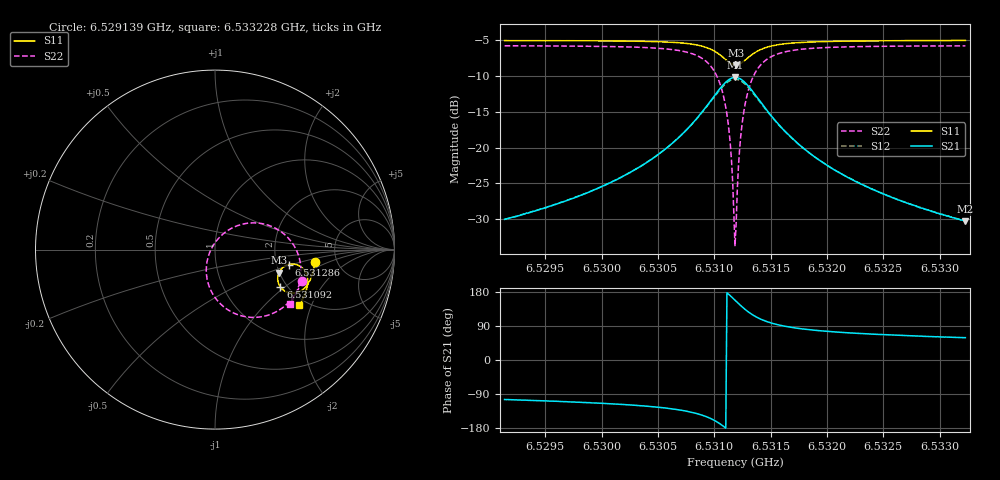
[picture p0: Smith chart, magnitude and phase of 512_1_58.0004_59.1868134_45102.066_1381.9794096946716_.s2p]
#  HZ  S  RI  R  50.00
! Rohde & Schwarz Vector Network Analyzer
! Rohde-Schwarz,ZNB20-2Port,1311601062101988,3.16
! Created: UTC 3/21/2024, 1:13:13 AM
! freq[Hz]  re:S11  im:S11  re:S21  im:S21  re:S12  im:S12  re:S22  im:S22
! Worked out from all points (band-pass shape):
!   401 points, 6.529139 GHz to 6.533228 GHz, reference 50 ohm
!   highest |S21| = -10.17 dB at 6.531184 GHz (marker M1); lowest = -30.3 dB at 6.533228 GHz (marker M2)
!   |S21| within 3 dB of the highest: 6.530981 GHz to 6.53139 GHz (408.5 kHz wide, 0.00625 % of centre)
!   lowest |S11| = -8.4 dB at 6.531194 GHz (marker M3), VSWR 2.22, Z = 99.3 - j29.9 ohm
!   |S11| at or under -10 dB: nowhere
!   |S22| runs from -33.8 to -5.7 dB; largest |S21 - S12| = 0.012
!   S11 on the Smith chart (normalised r, x): 6.529139 GHz: 3.40, -0.69; 6.531092 GHz: 1.84, -0.93; 6.531286 GHz: 2.32, -0.47; 6.533228 GHz: 1.82, -1.64
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6.5291392e9  0.5567 -0.0693  -0.00771 -0.0305  -0.00837 -0.0303  0.4864 -0.1733
6.5298242e9  0.5454 -0.1262  -0.0173 -0.0433  -0.0182 -0.043  0.455 -0.2369
6.5305091e9  0.516 -0.1941  -0.0516 -0.074  -0.0536 -0.0726  0.3726 -0.3269
6.5307443e9  0.4884 -0.2236  -0.0917 -0.0933  -0.0945 -0.0901  0.2913 -0.3668
6.5309181e9  0.4441 -0.2422  -0.1606 -0.0991  -0.1628 -0.0927  0.1644 -0.3729
6.5310203e9  0.3992 -0.2362  -0.2303 -0.072  -0.2294 -0.0626  0.0462 -0.3166
6.5310918e9  0.3643 -0.2081  -0.2816 -0.0127  -0.2757 -0.00288  -0.0315 -0.2085
6.5311327e9  0.3516 -0.1798  -0.2974 0.0409  -0.2883 0.0487  -0.0488 -0.1169
6.5311736e9  0.3508 -0.1458  -0.2924 0.1021  -0.2813 0.1063  -0.0302 -0.0174
6.5311839e9  0.3529 -0.1374  -0.2872 0.1169  -0.2761 0.1202  -0.0194 0.00632
6.5311941e9  0.356 -0.1291  -0.2806 0.1314  -0.2695 0.1337  -0.00635 0.0287
6.5312043e9  0.3598 -0.1215  -0.2728 0.1451  -0.2618 0.1464  0.00892 0.05
6.5312247e9  0.3698 -0.1074  -0.2531 0.1693  -0.243 0.1688  0.0442 0.0866
6.531235e9  0.3757 -0.1016  -0.2421 0.1798  -0.2323 0.1783  0.0642 0.1019
6.5312554e9  0.3887 -0.0919  -0.2182 0.1962  -0.2096 0.1939  0.1062 0.1257
6.5312861e9  0.4096 -0.0831  -0.1807 0.2117  -0.174 0.2084  0.1708 0.1454
6.5313576e9  0.4532 -0.0835  -0.1041 0.2132  -0.1011 0.2099  0.2992 0.1351
6.5314599e9  0.491 -0.1064  -0.0388 0.1812  -0.0372 0.1794  0.4059 0.0669
6.5316132e9  0.5122 -0.1434  0.000425 0.1334  0.00142 0.1329  0.4643 -0.0294
6.5318688e9  0.5168 -0.1872  0.0166 0.0871  0.0177 0.0868  0.4789 -0.1277
6.5325538e9  0.4973 -0.2578  0.0185 0.0417  0.0191 0.0414  0.4503 -0.245
6.5332285e9  0.4707 -0.3083  0.0157 0.0261  0.0165 0.0259  0.4158 -0.3052
